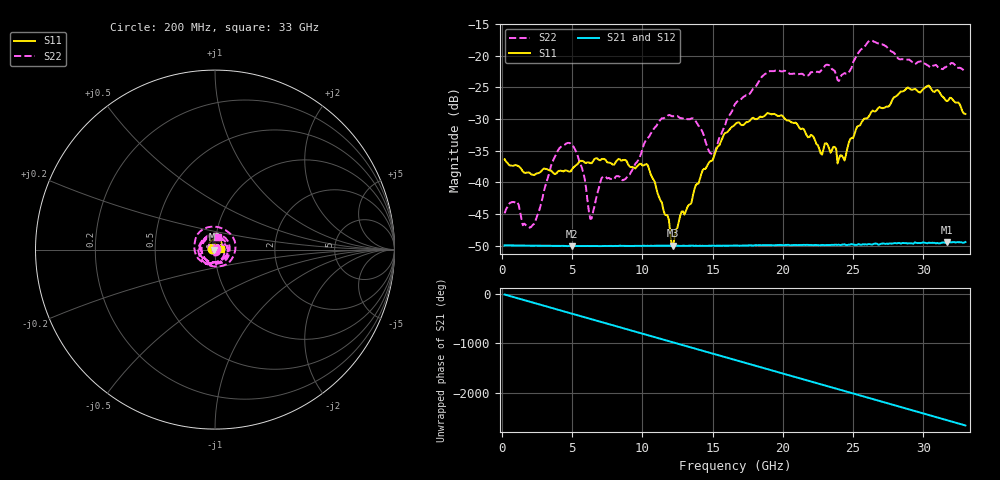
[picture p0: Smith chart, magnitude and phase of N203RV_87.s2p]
# GHZ S RI R 50
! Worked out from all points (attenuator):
!   329 points, 200 MHz to 33 GHz, reference 50 ohm
!   highest |S21| = -49.42 dB at 31.7 GHz (marker M1); lowest = -50.1 dB at 5 GHz (marker M2)
!   lowest |S11| = -50.0 dB at 12.2 GHz (marker M3), VSWR 1.01, Z = 49.7 - j0.0309 ohm
!   |S11| at or under -10 dB: start of sweep to end of sweep
!   |S22| runs from -47.2 to -17.6 dB; largest |S21 - S12| = 7.2e-05
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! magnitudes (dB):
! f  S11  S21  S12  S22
! 200 MHz  -36.4  -50.0  -49.9  -44.9
! 1.1 GHz  -37.4  -50.0  -50.0  -43.2
! 2.1 GHz  -38.8  -50.0  -50.0  -47.0
! 3.9 GHz  -38.6  -50.0  -50.1  -35.4
! 5 GHz  -37.9  -50.1  -50.1  -34.1
! 5.7 GHz  -36.6  -50.1  -50.0  -37.7
! 6.4 GHz  -37.0  -50.1  -50.1  -45.7
! 7.1 GHz  -36.3  -50.1  -50.1  -39.4
! 8.8 GHz  -36.5  -50.1  -50.0  -39.5
! 10.3 GHz  -37.1  -50.0  -50.0  -33.2
! 11.2 GHz  -42.4  -50.0  -50.0  -30.4
! 12.2 GHz  -50.0  -50.0  -50.0  -29.6
! 13.7 GHz  -41.2  -50.0  -50.0  -30.1
! 15 GHz  -36.5  -50.0  -50.0  -35.7
! 16.6 GHz  -30.9  -50.0  -50.0  -27.6
! 19 GHz  -29.1  -49.9  -49.9  -22.5
! 22.1 GHz  -32.6  -49.9  -49.9  -22.6
! 23.9 GHz  -37.0  -49.9  -49.8  -23.8
! 26.1 GHz  -29.7  -49.8  -49.7  -17.8
! 27.6 GHz  -27.9  -49.7  -49.7  -19.1
! 31.7 GHz  -27.2  -49.4  -49.6  -21.6
! 33 GHz  -29.2  -49.4  -49.4  -22.6
